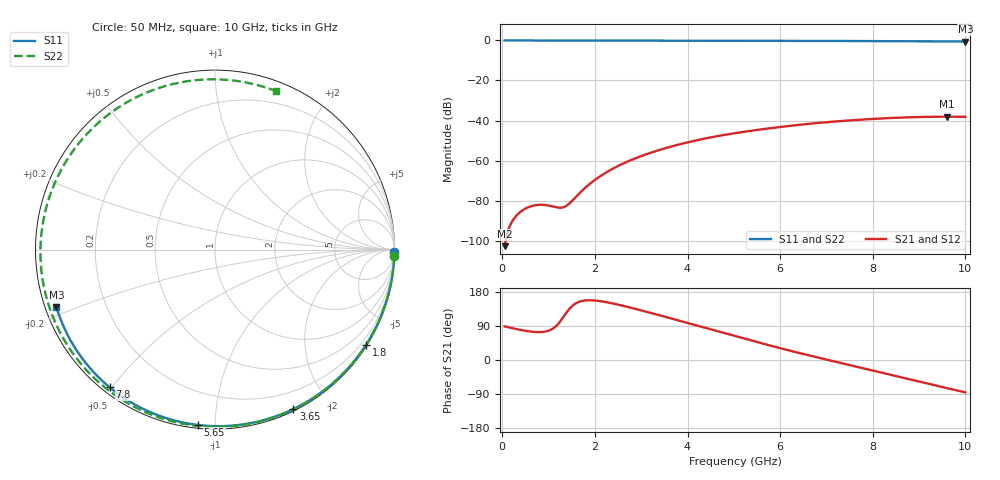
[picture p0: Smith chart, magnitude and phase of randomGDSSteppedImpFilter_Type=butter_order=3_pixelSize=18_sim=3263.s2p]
! freq	dB(S11)	phase(S11)	dB(S12)	phase(S12)
!  dB(S21)	phase(S21)	dB(S22)	phase(S22)
!S-par simulation data
#  GHz  S  DB  R 50
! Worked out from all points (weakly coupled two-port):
!   200 points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, 50 MHz to 10 GHz, reference 50 ohm
!   highest |S21| = -38.08 dB at 9.6 GHz (marker M1); lowest = -102.8 dB at 50 MHz (marker M2)
!   lowest |S11| = -0.5 dB at 10 GHz (marker M3), VSWR 32.20, Z = 1.6 - j8.78 ohm
!   |S11| at or under -10 dB: nowhere
!   |S22| runs from -0.5 to 0.0 dB; largest |S21 - S12| = 0
!   S11 on the Smith chart (normalised r, x): 50 MHz: open; 1.8 GHz: 0.03, -3.45; 3.65 GHz: 0.02, -1.60; 5.65 GHz: 0.02, -0.91; 7.8 GHz: 0.02, -0.49; 10 GHz: 0.03, -0.18
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0.05  -0.00 -0.9  -102.76 88.6  -102.76 88.6  -0.00 -2.0
0.35  -0.01 -6.4  -86.44 80.4  -86.44 80.4  -0.02 -14.1
0.7  -0.02 -12.7  -82.37 73.9  -82.37 73.9  -0.04 -27.9
1.1  -0.03 -19.9  -82.99 83.5  -82.99 83.5  -0.05 -43.3
1.5  -0.03 -27.0  -80.29 141.5  -80.29 141.5  -0.07 -58.2
1.75  -0.04 -31.5  -74.46 156.4  -74.46 156.4  -0.08 -67.2
1.8  -0.04 -32.3  -73.41 157.2  -73.41 157.2  -0.08 -68.9
2.1  -0.05 -37.6  -68.03 155.6  -68.03 155.6  -0.10 -79.3
2.45  -0.06 -43.6  -63.29 147.5  -63.29 147.5  -0.11 -90.9
2.9  -0.07 -51.3  -58.64 134.1  -58.64 134.1  -0.12 -105.0
3.4  -0.08 -59.7  -54.65 117.9  -54.65 117.9  -0.14 -119.9
3.65  -0.09 -63.9  -52.97 109.6  -52.97 109.6  -0.15 -127.0
4.35  -0.11 -75.2  -49.12 86.1  -49.12 86.1  -0.17 -146.0
5.05  -0.13 -86.2  -46.21 62.6  -46.21 62.6  -0.21 -164.0
5.65  -0.16 -95.5  -44.24 42.6  -44.24 42.6  -0.24 -179.0
6.15  -0.19 -103.0  -42.82 26.5  -42.82 26.5  -0.27 168.7
6.7  -0.22 -111.2  -41.47 9.9  -41.47 9.9  -0.30 155.1
7.8  -0.30 -127.4  -39.48 -22.1  -39.48 -22.1  -0.37 127.5
8.35  -0.35 -135.4  -38.78 -38.1  -38.78 -38.1  -0.41 113.3
9  -0.42 -145.0  -38.25 -57.0  -38.25 -57.0  -0.45 96.1
9.6  -0.49 -154.0  -38.08 -74.3  -38.08 -74.3  -0.47 79.9
10  -0.54 -160.1  -38.15 -85.4  -38.15 -85.4  -0.48 69.1
